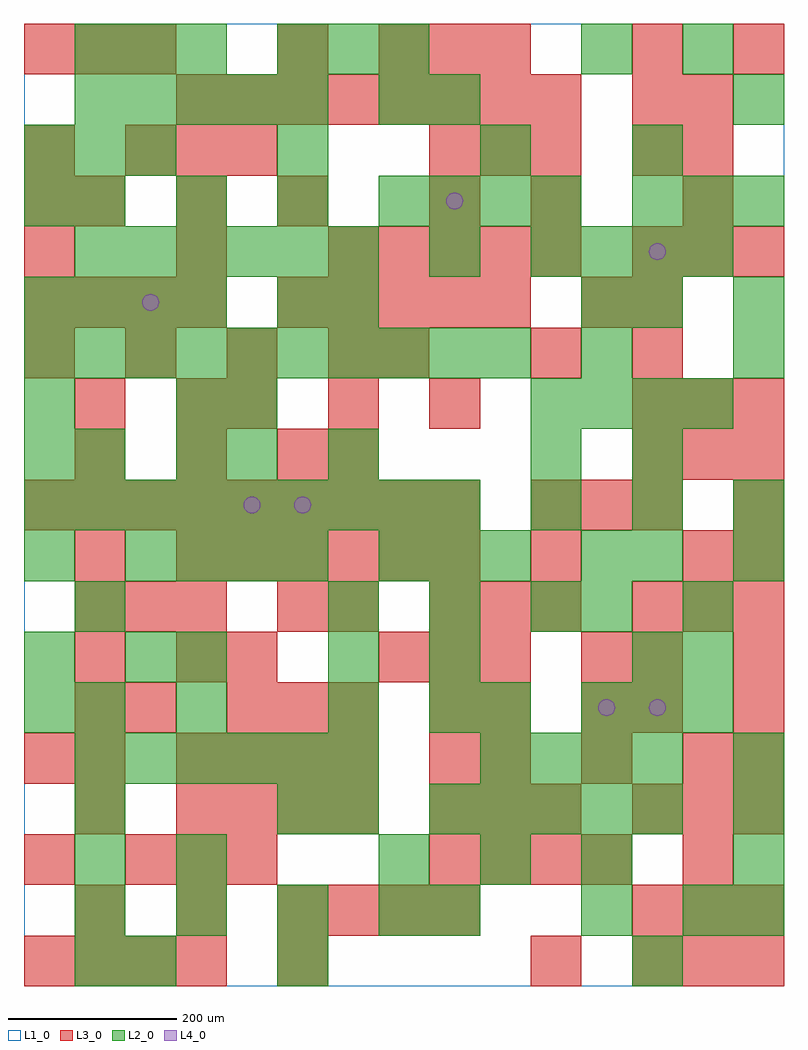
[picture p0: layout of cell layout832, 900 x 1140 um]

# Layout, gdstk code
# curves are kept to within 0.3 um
import gdstk
lib = gdstk.Library(unit=1e-6, precision=1e-09)
def R(c, l, rs):  # rectangles x0, y0, x1, y1
    for r in rs: c.add(gdstk.rectangle(r[:2], r[2:], *l))
def A(c, l, x, y, w, h, nx, ny, dx, dy):  # array of equal rectangles
    R(c, l, [(x+i*dx, y+j*dy, x+i*dx+w, y+j*dy+h) for i in range(nx) for j in range(ny)])
def P(c, l, *ps):  # polygons
    for p in ps: c.add(gdstk.Polygon(p, *l))
L1_0 = (1, 0)
L2_0 = (2, 0)
L3_0 = (3, 0)
L4_0 = (4, 0)

layout832 = lib.new_cell('layout832')
R(layout832, L1_0, [(0,0,900,1140)])
A(layout832, L2_0, 60, 60, 60, 60, 4, 2, 120, 840)
A(layout832, L2_0, 840, 60, 60, 60, 1, 4, 0, 60)
A(layout832, L2_0, 420, 120, 60, 60, 3, 1, 120, 0)
A(layout832, L2_0, 60, 180, 60, 60, 1, 3, 0, 120)
A(layout832, L2_0, 480, 180, 60, 60, 5, 1, 60, 0)
A(layout832, L2_0, 60, 240, 60, 60, 6, 2, 60, 600)
A(layout832, L2_0, 540, 240, 60, 60, 4, 1, 60, 0)
A(layout832, L2_0, 660, 300, 60, 60, 3, 1, 60, 0)
A(layout832, L2_0, 0, 360, 60, 60, 1, 3, 0, 120)
A(layout832, L2_0, 720, 360, 60, 60, 1, 3, 0, 120)
A(layout832, L2_0, 360, 420, 60, 60, 3, 1, 120, 0)
A(layout832, L2_0, 120, 480, 60, 60, 4, 1, 60, 0)
A(layout832, L2_0, 420, 480, 60, 60, 3, 1, 60, 0)
A(layout832, L2_0, 0, 540, 60, 60, 9, 1, 60, 0)
A(layout832, L2_0, 600, 540, 60, 60, 3, 1, 120, 0)
A(layout832, L2_0, 600, 660, 60, 60, 4, 2, 60, 180)
A(layout832, L2_0, 0, 720, 60, 60, 10, 1, 60, 0)
A(layout832, L2_0, 0, 780, 60, 60, 4, 1, 60, 0)
A(layout832, L2_0, 480, 900, 60, 60, 3, 1, 60, 0)
A(layout832, L2_0, 720, 900, 60, 60, 3, 1, 60, 0)
A(layout832, L2_0, 0, 960, 60, 60, 3, 1, 60, 0)
A(layout832, L2_0, 60, 1020, 60, 60, 5, 1, 60, 0)
A(layout832, L2_0, 60, 1080, 60, 60, 3, 1, 60, 0)
A(layout832, L2_0, 300, 1080, 60, 60, 3, 1, 60, 0)
R(layout832, L2_0, [(60,0,120,60), (120,0,180,60), (300,0,360,60), (720,0,780,60), (480,60,540,120), (660,60,720,120), (780,60,840,120), (60,120,120,180), (180,120,240,180), (300,180,360,240), (360,180,420,240), (0,300,60,360), (180,300,240,360), (360,300,420,360), (480,300,540,360), (540,300,600,360), (120,360,180,420), (180,360,240,420), (360,360,420,420), (480,360,540,420), (780,360,840,420), (660,420,720,480), (780,420,840,480), (660,480,720,540), (840,480,900,540), (60,600,120,660), (180,600,240,660), (240,600,300,660), (360,600,420,660), (600,600,660,660), (0,660,60,720), (180,660,240,720), (240,660,300,720), (660,720,720,780), (840,720,900,780), (300,780,360,840), (360,780,420,840), (660,780,720,840), (720,780,780,840), (840,780,900,840), (480,840,540,900), (0,900,60,960), (300,960,360,1020), (540,960,600,1020), (720,960,780,1020), (420,1020,480,1080), (480,1020,540,1080), (840,1020,900,1080), (660,1080,720,1140), (780,1080,840,1140)])
A(layout832, L3_0, 0, 0, 60, 60, 4, 2, 60, 780)
A(layout832, L3_0, 720, 0, 60, 60, 3, 2, 60, 60)
A(layout832, L3_0, 60, 60, 60, 60, 3, 2, 120, 540)
A(layout832, L3_0, 360, 60, 60, 60, 3, 1, 60, 0)
A(layout832, L3_0, 120, 120, 60, 60, 3, 2, 60, 840)
A(layout832, L3_0, 480, 120, 60, 60, 4, 1, 60, 0)
A(layout832, L3_0, 60, 180, 60, 60, 1, 4, 0, 60)
A(layout832, L3_0, 180, 180, 60, 60, 4, 2, 60, 60)
A(layout832, L3_0, 480, 180, 60, 60, 3, 2, 60, 240)
A(layout832, L3_0, 720, 180, 60, 60, 3, 2, 60, 240)
A(layout832, L3_0, 540, 240, 60, 60, 3, 1, 120, 0)
A(layout832, L3_0, 840, 240, 60, 60, 1, 3, 0, 60)
A(layout832, L3_0, 240, 300, 60, 60, 3, 1, 60, 0)
A(layout832, L3_0, 420, 360, 60, 60, 3, 2, 60, 720)
A(layout832, L3_0, 60, 420, 60, 60, 3, 1, 60, 0)
A(layout832, L3_0, 180, 480, 60, 60, 6, 1, 60, 0)
A(layout832, L3_0, 0, 540, 60, 60, 9, 1, 60, 0)
A(layout832, L3_0, 600, 540, 60, 60, 3, 1, 60, 0)
A(layout832, L3_0, 720, 600, 60, 60, 3, 2, 60, 60)
A(layout832, L3_0, 240, 660, 60, 60, 3, 1, 120, 0)
A(layout832, L3_0, 0, 720, 60, 60, 4, 1, 120, 0)
A(layout832, L3_0, 300, 780, 60, 60, 5, 1, 60, 0)
A(layout832, L3_0, 0, 840, 60, 60, 3, 1, 180, 0)
A(layout832, L3_0, 420, 840, 60, 60, 4, 1, 60, 0)
A(layout832, L3_0, 720, 840, 60, 60, 3, 1, 60, 0)
A(layout832, L3_0, 60, 900, 60, 60, 3, 1, 120, 0)
A(layout832, L3_0, 780, 900, 60, 60, 1, 3, 0, 60)
A(layout832, L3_0, 480, 960, 60, 60, 3, 1, 60, 0)
A(layout832, L3_0, 720, 960, 60, 60, 1, 3, 0, 60)
A(layout832, L3_0, 180, 1020, 60, 60, 8, 1, 60, 0)
A(layout832, L3_0, 0, 1080, 60, 60, 3, 1, 60, 0)
R(layout832, L3_0, [(300,0,360,60), (600,0,660,60), (0,120,60,180), (780,120,840,180), (0,240,60,300), (480,240,540,300), (120,300,180,360), (480,300,540,360), (540,300,600,360), (660,300,720,360), (720,300,780,360), (180,360,240,420), (240,360,300,420), (660,360,720,420), (720,360,780,420), (300,420,360,480), (360,420,420,480), (60,480,120,540), (600,480,660,540), (780,480,840,540), (840,480,900,540), (840,540,900,600), (360,600,420,660), (60,660,120,720), (180,660,240,720), (420,720,480,780), (600,720,660,780), (720,720,780,780), (660,780,720,840), (720,780,780,840), (0,900,60,960), (480,900,540,960), (600,900,660,960), (0,960,60,1020), (300,1080,360,1140), (840,1080,900,1140)])
P(layout832, L4_0, [(160,810),(159.239,813.827),(157.071,817.071),(153.827,819.239),(150,820),(146.173,819.239),(142.929,817.071),(140.761,813.827),(140,810),(140.761,806.173),(142.929,802.929),(146.173,800.761),(150,800),(153.827,800.761),(157.071,802.929),(159.239,806.173)],
  [(280,570),(279.239,573.827),(277.071,577.071),(273.827,579.239),(270,580),(266.173,579.239),(262.929,577.071),(260.761,573.827),(260,570),(260.761,566.173),(262.929,562.929),(266.173,560.761),(270,560),(273.827,560.761),(277.071,562.929),(279.239,566.173)],
  [(340,570),(339.239,573.827),(337.071,577.071),(333.827,579.239),(330,580),(326.173,579.239),(322.929,577.071),(320.761,573.827),(320,570),(320.761,566.173),(322.929,562.929),(326.173,560.761),(330,560),(333.827,560.761),(337.071,562.929),(339.239,566.173)],
  [(520,930),(519.239,933.827),(517.071,937.071),(513.827,939.239),(510,940),(506.173,939.239),(502.929,937.071),(500.761,933.827),(500,930),(500.761,926.173),(502.929,922.929),(506.173,920.761),(510,920),(513.827,920.761),(517.071,922.929),(519.239,926.173)],
  [(700,330),(699.239,333.827),(697.071,337.071),(693.827,339.239),(690,340),(686.173,339.239),(682.929,337.071),(680.761,333.827),(680,330),(680.761,326.173),(682.929,322.929),(686.173,320.761),(690,320),(693.827,320.761),(697.071,322.929),(699.239,326.173)],
  [(760,330),(759.239,333.827),(757.071,337.071),(753.827,339.239),(750,340),(746.173,339.239),(742.929,337.071),(740.761,333.827),(740,330),(740.761,326.173),(742.929,322.929),(746.173,320.761),(750,320),(753.827,320.761),(757.071,322.929),(759.239,326.173)],
  [(760,870),(759.239,873.827),(757.071,877.071),(753.827,879.239),(750,880),(746.173,879.239),(742.929,877.071),(740.761,873.827),(740,870),(740.761,866.173),(742.929,862.929),(746.173,860.761),(750,860),(753.827,860.761),(757.071,862.929),(759.239,866.173)])

lib.write_gds('layout832.gds')
